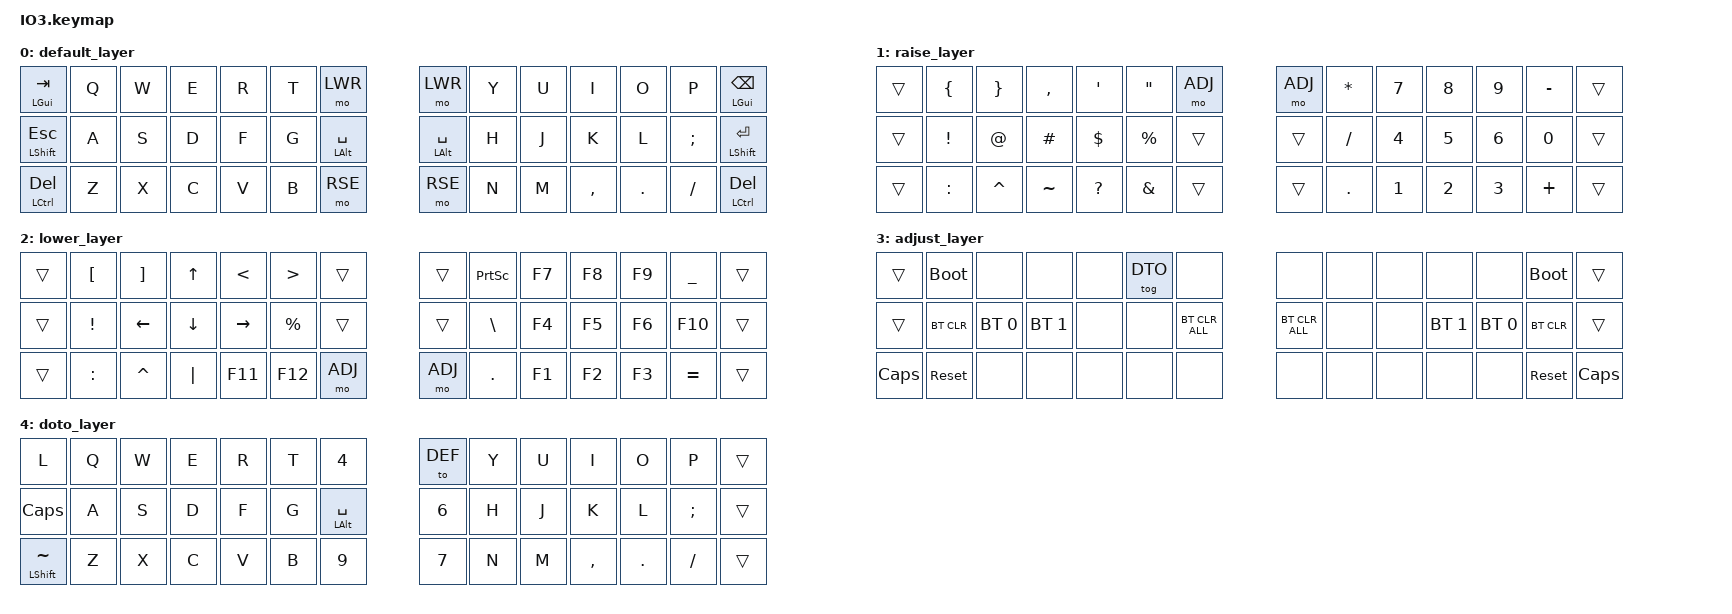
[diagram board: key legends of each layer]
#include <behaviors.dtsi>
#include <dt-bindings/zmk/bt.h>
#include <dt-bindings/zmk/keys.h>

#define DEF 0
#define LWR 1
#define RSE 2
#define ADJ 3
#define DTO 4

&lt {
    quick-tap-ms = <200>;
};

&mt {
    quick-tap-ms = <200>;
};

/ {
    conditional_layers {
        compatible = "zmk,conditional-layers";

        tri-layer {
            if-layers = <1 2>;
            then-layer = <3>;
        };
    };
    keymap {
        compatible = "zmk,keymap";

        default_layer {
// ---------------------------------------------------------------------------------------------------------------------------------
// |  SUP/TAB    |  (  |  )  |  .   |  P   |  Y   |                                          |  F    |  G    |  C    |  R   |   L   | SUP/BACKSPACE |
// |  SHIFT/ESC  |  A  |  O  |  E   |  U   |  I   |                                          |  D    |  H    |  T    |  N   |   S   | SHIFT/ENTER   |
// |  CTRL/DELET |  ;  |  Q  |  J   |  K   |  X   |                                          |  B    |  M    |  W    |  V   |   Z   | CTRL/DELETE   |
//				    |Lower|ALT/SPC|RAISE|                              |RAISE|ALT/SPC| Lower |
            bindings = <
		&mt LGUI TAB    &kp Q  &kp W  &kp E  &kp R   &kp T  &mo LWR        		    &mo LWR          &kp Y  &kp U  &kp I  &kp O  &kp P  &mt LGUI BSPC 
                &mt LSHIFT ESC  &kp A     &kp S     &kp D       &kp F  &kp G  &mt LALT SPACE  &mt LALT SPACE  &kp H  &kp J  &kp K  &kp L  &kp SEMI  &mt LSHIFT RET
                &mt LCTRL DEL   &kp Z  &kp X     &kp C       &kp V  &kp B  &mo RSE         &mo RSE         &kp N  &kp M  &kp COMMA  &kp DOT  &kp FSLH  &mt LCTRL DEL 

//                &mt LGUI TAB    &kp LPAR  &kp RPAR  &kp PERIOD  &kp P   &kp Y  &mo LWR        		    &mo LWR          &kp F  &kp G  &kp C  &kp R  &kp L  &mt LGUI BSPC 
//                &mt LSHIFT ESC  &kp A     &kp O     &kp E       &kp U  &kp I  &mt LALT SPACE  &mt LALT SPACE  &kp D  &kp H  &kp T  &kp N  &kp S  &mt LSHIFT RET
//                &mt LCTRL DEL   &kp SEMI  &kp Q     &kp J       &kp K  &kp X  &mo RSE         &mo RSE         &kp B  &kp M  &kp W  &kp V  &kp Z  &mt LCTRL DEL 
            >;


        };
        raise_layer {
// ---------------------------------------------------------------------------------------------------------------------------------
// |       |   {  |   }  |   ,  |   '  |   "  |                                        |   *  |  7   |   8  |   9  |   -  |     |
// |       |   !  |   @  |   #  |   $  |   %  |                                        |   /  |  4   |   5  |   6  |   0  |     |
// |       |   :  |   ^  |   ~  |   ?  |   &  |                                        |   .  |  1   |   2  |   3  |   +  |     |
//                              | ADJ  |      |         |                     |        |      | ADJ  |
            bindings = <
                &trans  &kp LBRC   &kp RBRC   &kp COMMA  &kp SQT    &kp DQT     &mo ADJ                &mo ADJ    &kp ASTRK     &kp N7  &kp N8  &kp N9  &kp MINUS  &trans
                &trans  &kp EXCL   &kp AT     &kp HASH   &kp DLLR   &kp PRCNT   &trans                 &trans     &kp FSLH      &kp N4  &kp N5  &kp N6  &kp N0     &trans
                &trans  &kp COLON  &kp CARET  &kp TILDE  &kp QMARK  &kp AMPS    &trans                 &trans     &kp PERIOD    &kp N1  &kp N2  &kp N3  &kp PLUS   &trans
            >;

        };
        lower_layer {
// ---------------------------------------------------------------------------------------------------------------------------------
// |       |  [  |   ]  |   ^  |   <  |   >  |                                                           |PSCRN |  F7   |   F8  |   F9  |   _  |     |
// |       |  !  |   <- |   v  |   -> |   %  |                                                           |   \  |  F4   |   F5  |   F6  | F10  |     |
// |       |  :  |   ^  | "|"  |  F11 |  F12 |                                                           |   .  |  F1   |   F2  |   F3  |   =  |     |
//                             |      |      |  ADJ   |                                         |  ADJ   |      |       |

            bindings = <
                &trans  &kp LBKT   &kp RBKT   &kp UP     &kp LT     &kp GT      &trans     	  &trans        &kp PSCRN  &kp F7  &kp F8  &kp F9  &kp UNDER  &trans
                &trans  &kp EXCL   &kp LEFT   &kp DOWN   &kp RIGHT  &kp PRCNT   &trans     	  &trans        &kp BSLH   &kp F4  &kp F5  &kp F6  &kp F10    &trans
                &trans  &kp COLON  &kp CARET  &kp PIPE   &kp F11    &kp F12     &mo ADJ     	  &mo ADJ	&kp PERIOD    &kp F1  &kp F2  &kp F3  &kp EQUAL  &trans
            >;

        };
        adjust_layer {
// ---------------------------------------------------------------------------------------------------------------------------------
// |       |bootloader|        |        |      |   DOTo   |                                       |          |      |        |        |bootloader|      |
// |       |  BT_CLR  |BT_SEL 0|BT_SEL 1|      |          |                                       |          |      |BT_SEL 1|BT_SEL 0|  BT_CLR  |      |
// |  CAPS |sys_reset |        |        |      |          |                                       |          |      |        |        | sys_reset| CAPS |
//                                      |      |BT_CLR_ALL|     |                         |       |BT_CLR_ALL|      |

            bindings = <
                &trans  &bootloader &none         &none         &none  &tog DTO	 &none          	 &none        &none   &none  &none          &none          &bootloader  &trans
                &trans  &bt BT_CLR  &bt BT_SEL 0  &bt BT_SEL 1  &none  &none     &bt BT_CLR_ALL          &bt BT_CLR_ALL      &none   &none  &bt BT_SEL 1   &bt BT_SEL 0   &bt BT_CLR   &trans
                &kp CAPS &sys_reset &none         &none         &none  &none     &none          	 &none      &none   &none  &none          &none          &sys_reset   &kp CAPS
            >;

        };
        doto_layer {
// ---------------------------------------------------------------------------------------------------------------------------------
// |   l   |  q  |   w  |   e  |   r  |   t   |                                             |  Y   |  U   |  I   |  O   |  P   |     |
// |  caps |  a  |   s  |   d  |   f  |   g   |                                             |  H   |  J   |  K   |  L   |  ;   |     |
// | shift |  z  |   x  |   c  |   v  |   b   |                                             |  N   |  M   |  ,   |  .   |  /   |     |
//                             |   4  |ALT/SPC|  5  |                                 | DEF |  6   |  7   |

            bindings = <
                &kp L             &kp Q   &kp W   &kp E   &kp R    &kp T     &kp N4                   &to DEF 	   &kp Y    &kp U    &kp I        &kp O         &kp P     &trans
                &kp CAPS          &kp A   &kp S   &kp D   &kp F    &kp G     &mt LALT SPACE           &kp N6                    &kp H    &kp J    &kp K        &kp L         &kp SEMI  &trans
                &mt LSHIFT TILDE  &kp Z   &kp X   &kp C   &kp V    &kp B     &kp N9        	      &kp N7           &kp N    &kp M    &kp COMMA    &kp PERIOD    &kp FSLH  &trans
		                                                             
            >;

        };

    };
};
